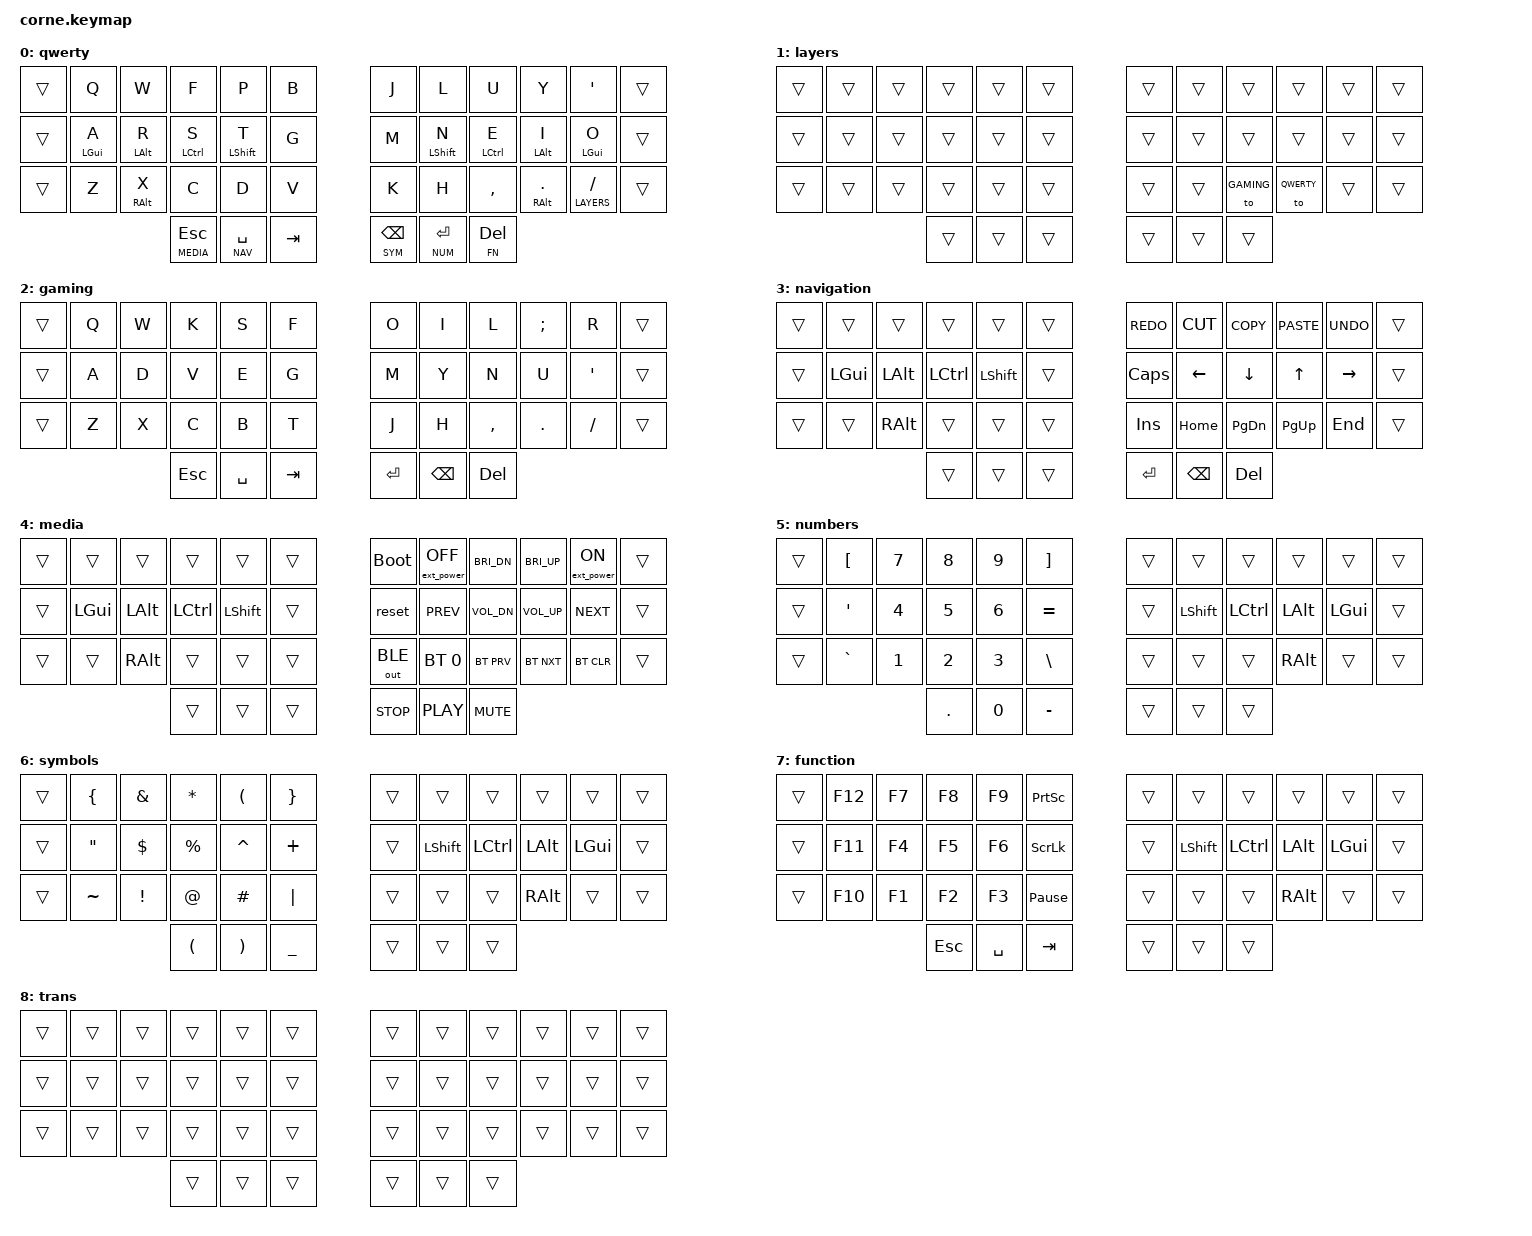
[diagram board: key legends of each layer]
/*
 * Copyright (c) 2020 The ZMK Contributors
 *
 * SPDX-License-Identifier: MIT
 */

#include <behaviors.dtsi>
#include <dt-bindings/zmk/keys.h>
#include <dt-bindings/zmk/bt.h>
#include <dt-bindings/zmk/ext_power.h>
#include <dt-bindings/zmk/outputs.h>

// Layer Definitions
#define QWERTY 0
#define LAYERS 1
#define GAMING 2
#define NAV 3 
#define MEDIA 4
#define NUM 5
#define SYM 6
#define FN 7

// Behaviors
&mt {
    tapping-term-ms = <200>;
    quick_tap_ms = <0>;
    flavor = "tap-preferred";
};
&lt {
    tapping-term-ms = <200>;
    quick_tap_ms = <0>;
    flavor = "tap-preferred";
};
&sk {
    release-after-ms = <500>;
    quick-release;
};

// Keymap Config
/ {
        keymap {
                compatible = "zmk,keymap";

                qwerty {
                    // -----------------------------------------------------------------------------------------------------------------------------
                    // |        |   Q    |   W    |     E     |     R     |     T     | # |     Y     |     U    |    I    |    O   |   P    |     |
                    // |        | A/LGUI | S/LALT |  D/LCTRL  |  F/LSHFT  |     G     | # |     H     | J/LSHFT  | K/LCTRR | L/LALT | ;/LGUI |     |
                    // |        |   Z    | X/RALT |     C     |     V     |     B     | # |     N     |     M    |    ,    | ./RALT |   /    |     |
                    //                            | ESC/MEDIA | SPACE/NAV | TAB/MOUSE | # | BSPC/SYM  |ENTER/NUM | DEL/FN  |
                    
                    bindings = <

                    &trans      &kp Q       &kp W       &kp F          &kp P          &kp B                &kp J          &kp L         &kp U          &kp Y         &kp SQT     &trans
                    &trans      &mt LGUI A  &mt LALT R  &mt LCTRL S    &mt LSHFT T    &kp G                &kp M          &mt LSHFT N   &mt LCTRL E    &mt LALT I    &mt LGUI O  &trans
                    &trans      &kp Z       &mt RALT X  &kp C          &kp D          &kp V                &kp K          &kp H         &kp CMMA       &mt RALT DOT  &lt LAYERS FSLH    &trans
                                            &lt MEDIA ESC  &lt NAV SPACE  &kp TAB        &lt SYM BSPC &lt NUM ENTER &lt FN DEL
                    >;
                };

				layers {
                    // ------------------------------------------------------------------------------------
                    // |     |      |      |       |       |      | # |     |     |     |     |     |     |
                    // |     |      |      |       |       |      | # |     |     |     |     |     |     |
                    // |     |      |      |       |       |      | # |     |     |     |     |     |     |
                    //                     |       |       |      | # |     |     |     |
                    
                    bindings = <

                    &trans  &trans    &trans    &trans     &trans     &trans        &trans  &trans  &trans  &trans  &trans  &trans
                    &trans  &trans    &trans    &trans     &trans     &trans        &trans  &trans  &trans  &trans  &trans  &trans
                    &trans  &trans    &trans    &trans     &trans     &trans        &trans  &trans  &to GAMING  &to QWERTY  &trans  &trans
                                                &trans     &trans     &trans        &trans  &trans  &trans
                    >;
				};

		        gaming {
                    // ----------------------------------------------------------------------------------------------------
                    // |        |   Q   |   W   |   E   |   R   |   T   | # |   Y   |   U   |   I   |   O   |   P   |     |
                    // |        |   A   |   S   |   D   |   F   |   G   | # |   H   |   J   |   K   |   L   |   ;   |     |
                    // |        |   Z   |   X   |   C   |   V   |   B   | # |   N   |   M   |   ,   |   .   |   /   |     |
                    //                          |  ESC  | SPACE |  TAB  | # | ENTER | BSPC  |  DEL  |
                    
                    bindings = <

                    &trans      &kp Q  &kp W  &kp K    &kp S      &kp F          &kp O      &kp I     &kp L     &kp SEMI  &kp R     &trans
                    &trans      &kp A  &kp D  &kp V    &kp E      &kp G          &kp M      &kp Y     &kp N     &kp U     &kp SQT   &trans
                    &trans      &kp Z  &kp X  &kp C    &kp B      &kp T          &kp J      &kp H     &kp CMMA  &kp DOT   &kp FSLH  &trans
                                          &kp ESC  &kp SPACE  &kp TAB        &kp ENTER  &kp BSPC  &kp DEL
                    >;
                };

				navigation {
                    // -------------------------------------------------------------------------------------------
                    // |     |      |      |       |       |     | # | REDO  | CUT  | COPY | PASTE | UNDO  |     |
                    // |     | LGUI | LALT | LCTRL | LSHFT |     | # | CAPS  | LEFT | DOWN | UP    | RIGHT |     |
                    // |     |      | RALT |       |       |     | # | INS   | HOME | PGDN | PGUP  | END   |     |
                    //                     |       | HELD  |     | # | ENTER | BSPC | DEL  |
                    
                    bindings = <

                    &trans  &trans    &trans    &trans     &trans     &trans        &kp K_REDO    &kp K_CUT  &kp K_COPY  &kp K_PASTE  &kp K_UNDO  &trans
                    &trans  &kp LGUI  &kp LALT  &kp LCTRL  &kp LSHFT  &trans        &kp CAPSLOCK  &kp LEFT   &kp DOWN    &kp UP       &kp RIGHT   &trans
                    &trans  &trans    &kp RALT  &trans     &trans     &trans        &kp INS       &kp HOME   &kp PG_DN   &kp PG_UP    &kp END     &trans
                                                &trans     &trans     &trans        &kp ENTER     &kp BSPC   &kp DEL
                    >;
                };

				media {
                    // -----------------------------------------------------------------------------------------------------
                    // |     |      |      |       |       |      | # | BOOTLOAD | EP_OFF | BR_D   | BR_U   | EP_ON  |     |
                    // |     | LGUI | LALT | LCTRL | LSHFT |      | # | RESET    | PREV   | VOL_D  | VOL_U  | NEXT   |     |
                    // |     |      | RALT |       |       |      | # | OUT_BLE  | BT_0   | BT_PRV | BT_NXT | BT_CLR |     |
                    //                     | HELD  |       |      | # | STOP     | PLAY   | MUTE   |
                    
                    bindings = <

                    &trans  &trans    &trans    &trans     &trans     &trans        &bootloader   &ext_power EP_OFF  &kp C_BRI_DN  &kp C_BRI_UP  &ext_power EP_ON  &trans
                    &trans  &kp LGUI  &kp LALT  &kp LCTRL  &kp LSHFT  &trans        &reset        &kp C_PREV         &kp C_VOL_DN  &kp C_VOL_UP  &kp C_NEXT        &trans
                    &trans  &trans    &kp RALT  &trans     &trans     &trans        &out OUT_BLE  &bt BT_SEL 0       &bt BT_PRV    &bt BT_NXT    &bt BT_CLR        &trans
                                                &trans     &trans     &trans        &kp C_STOP    &kp C_PLAY         &kp C_MUTE
                    >;
                };
        
                numbers {
                    // -----------------------------------------------------------------------------------
                    // |     |  [  |  7  |  8  |  9  |  ]  | # |     |       |       |      |      |     |
                    // |     |  ;  |  4  |  5  |  6  |  =  | # |     | LSHFT | LCTRL | LALT | LGUI |     |
                    // |     |  `  |  1  |  2  |  3  |  \  | # |     |       |       | RALT |      |     |
                    //                   |  .  |  0  |  -  | # |     | HELD  |       |
                    
                    bindings = <

                    &trans  &kp LBKT   &kp N7  &kp N8   &kp N9  &kp RBKT         &trans  &trans     &trans     &trans    &trans    &trans
                    &trans  &kp SQT    &kp N4  &kp N5   &kp N6  &kp EQUAL        &trans  &kp LSHFT  &kp LCTRL  &kp LALT  &kp LGUI  &trans
                    &trans  &kp GRAVE  &kp N1  &kp N2   &kp N3  &kp BSLH         &trans  &trans     &trans     &kp RALT  &trans    &trans
                                               &kp DOT  &kp N0  &kp MINUS        &trans  &trans     &trans
                    >;
                };
        
                symbols {
                    // ------------------------------------------------------------------------------------
                    // |     |  {  |  &  |  *  |  (  |  }  | # |      |       |       |      |      |     |
                    // |     |  :  |  $  |  %  |  ^  |  +  | # |      | LSHFT | LCTRL | LALT | LGUI |     |
                    // |     |  ~  |  !  |  @  |  #  |  |  | # |      |       |       | RALT |      |     |
                    //                   |  (  |  )  |  _  | # | HELD |       |       |
                    
                    bindings = <

                    &trans  &kp LBRC   &kp AMPS  &kp ASTRK  &kp LPAR   &kp RBRC              &trans  &trans     &trans     &trans    &trans    &trans
                    &trans  &kp DQT    &kp DLLR  &kp PRCNT  &kp CARET  &kp PLUS              &trans  &kp LSHFT  &kp LCTRL  &kp LALT  &kp LGUI  &trans
                    &trans  &kp TILDE  &kp EXCL  &kp AT     &kp HASH   &kp PIPE              &trans  &trans     &trans     &kp RALT  &trans    &trans
                                                 &kp LPAR   &kp RPAR   &kp UNDERSCORE        &trans  &trans     &trans
                    >;
                };
        
                function {
                    // ------------------------------------------------------------------------------------------
                    // |     |  F12 |  F7  |  F8  |  F9   | PSCRN | # |     |       |       |      |      |     |
                    // |     |  F11 |  F4  |  F5  |  F6   | SLCK  | # |     | LSHFT | LCTRL | LALT | LGUI |     |
                    // |     |  F10 |  F1  |  F2  |  F3   | PAUSE | # |     |       |       | RALT |      |     |
                    //                     | ESC  | SPACE |  TAB  | # |     |       | HELD  |
                    
                    bindings = <

                    &trans  &kp F12  &kp F7  &kp F8   &kp F9     &kp PSCRN              &trans  &trans     &trans     &trans    &trans    &trans
                    &trans  &kp F11  &kp F4  &kp F5   &kp F6     &kp SLCK               &trans  &kp LSHFT  &kp LCTRL  &kp LALT  &kp LGUI  &trans
                    &trans  &kp F10  &kp F1  &kp F2   &kp F3     &kp PAUSE_BREAK        &trans  &trans     &trans     &kp RALT  &trans    &trans
                                             &kp ESC  &kp SPACE  &kp TAB                &trans  &trans     &trans
                    >;
                };

				trans {
                    // ------------------------------------------------------------------------------------
                    // |     |      |      |       |       |      | # |     |     |     |     |     |     |
                    // |     |      |      |       |       |      | # |     |     |     |     |     |     |
                    // |     |      |      |       |       |      | # |     |     |     |     |     |     |
                    //                     |       |       |      | # |     |     |     |
                    
                    bindings = <

                    &trans  &trans    &trans    &trans     &trans     &trans        &trans  &trans  &trans  &trans  &trans  &trans
                    &trans  &trans    &trans    &trans     &trans     &trans        &trans  &trans  &trans  &trans  &trans  &trans
                    &trans  &trans    &trans    &trans     &trans     &trans        &trans  &trans  &trans  &trans  &trans  &trans
                                                &trans     &trans     &trans        &trans  &trans  &trans
                    >;
				};
        };
};
